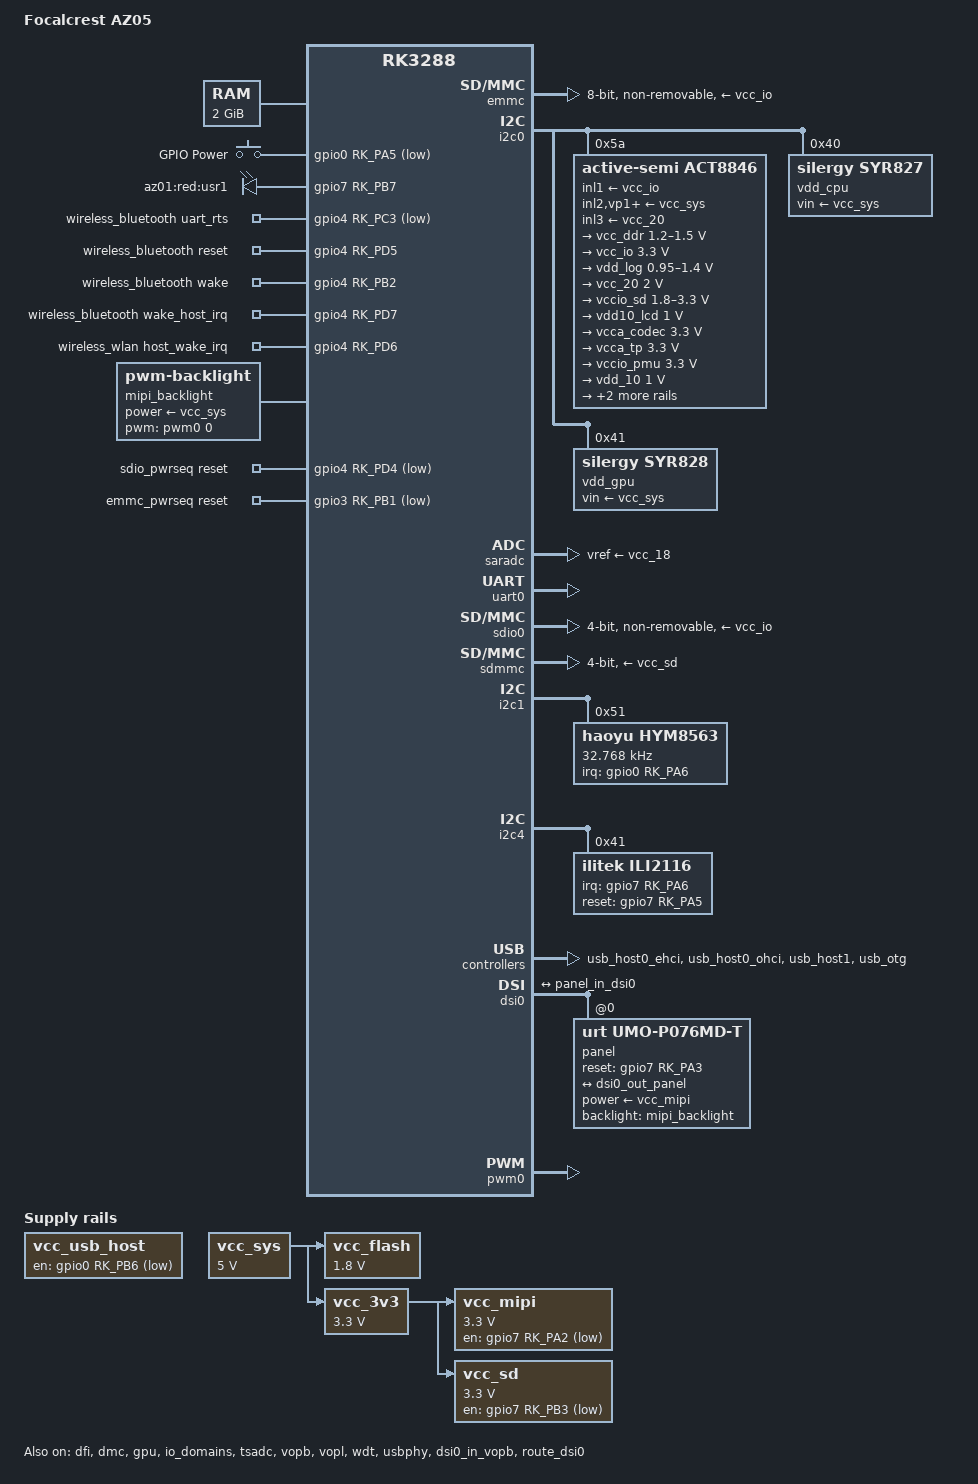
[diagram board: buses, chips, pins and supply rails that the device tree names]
// SPDX-License-Identifier: (GPL-2.0+ OR MIT)

/dts-v1/;
#include <dt-bindings/input/input.h>
#include <dt-bindings/pwm/pwm.h>
#include <dt-bindings/sensor-dev.h>
#include <dt-bindings/display/drm_mipi_dsi.h>
#include "rk3288.dtsi"
#include "rk3288-linux.dtsi"

/ {
	model = "Focalcrest AZ05";
	compatible = "focalcrest,az05", "rockchip,rk3288";


	memory@0 {
		reg = <0x0 0x0 0x0 0x80000000>;
		device_type = "memory";
	};

	gpio-keys {
		compatible = "gpio-keys";

		power {
			gpios = <&gpio0 RK_PA5 GPIO_ACTIVE_LOW>;
			label = "GPIO Power";
			linux,code = <KEY_POWER>;
			pinctrl-names = "default";
			pinctrl-0 = <&pwr_key>;
			wakeup-source;
		};
	};

	gpio-leds {
		compatible = "gpio-leds";

		heartbeat_led: led-0 {
			gpios = <&gpio7 RK_PB7 GPIO_ACTIVE_HIGH>;
			label = "az01:red:usr1";
			linux,default-trigger = "heartbeat";
			retain-state-shutdown;
		};

	};

        wireless_bluetooth: wireless-bluetooth {
                compatible = "bluetooth-platdata";
                clocks = <&hym8563>;
                clock-names = "ext_clock";
                uart_rts_gpios = <&gpio4 RK_PC3 GPIO_ACTIVE_LOW>;
                pinctrl-names = "default", "rts_gpio";
                pinctrl-0 = <&uart0_rts>;
                pinctrl-1 = <&uart0_rts_gpio>;
                BT,reset_gpio    = <&gpio4 RK_PD5 GPIO_ACTIVE_HIGH>;
                BT,wake_gpio     = <&gpio4 RK_PB2 GPIO_ACTIVE_HIGH>;
                BT,wake_host_irq = <&gpio4 RK_PD7 GPIO_ACTIVE_HIGH>;
                status = "okay";
        };

        wireless_wlan: wireless-wlan {
                compatible = "wlan-platdata";
                rockchip,grf = <&grf>;
                wifi_chip_type = "ap6256";
                WIFI,host_wake_irq = <&gpio4 RK_PD6 GPIO_ACTIVE_HIGH>;
                status = "okay";
        };

        mipi_backlight: mipi-backlight {
                compatible = "pwm-backlight";
		brightness-levels = <0x00 0xff>;
		num-interpolated-steps = <0xff>;
		default-brightness-level = <0x95>;
		power-supply = <&vcc_sys>;
                pwms = <&pwm0 0 50000 0>;
        };

        vcc_mipi: vcc-mipi {
                compatible = "regulator-fixed";
                gpio = <&gpio7 RK_PA2 GPIO_ACTIVE_LOW>;
                regulator-boot-on;
		startup-delay-us = <10000>;
		regulator-min-microvolt = <3300000>;
		regulator-max-microvolt = <3300000>;
                regulator-name = "vcc_mipi";
                vin-supply = <&vcc_3v3>;
        };

	sdio_pwrseq: sdio-pwrseq {
		compatible = "mmc-pwrseq-simple";
		clocks = <&hym8563>;
		clock-names = "ext_clock";
		pinctrl-names = "default";
		pinctrl-0 = <&wifi_enable>;
		post-power-on-delay-ms = <200>;
		reset-gpios = <&gpio4 RK_PD4 GPIO_ACTIVE_LOW>; // WIFI_REG_ON
	};

	vcc_usb_host: vcc-host-regulator {
		compatible = "regulator-fixed";
                regulator-boot-on;
		regulator-always-on;
		gpio = <&gpio0 RK_PB6 GPIO_ACTIVE_HIGH>;
		pinctrl-names = "default";
		pinctrl-0 = <&host_vbus_drv>;
		regulator-name = "vcc_host";
	};

	vcc_sd: sdmmc-regulator {
		compatible = "regulator-fixed";
		gpio = <&gpio7 RK_PB3 GPIO_ACTIVE_LOW>;
		pinctrl-names = "default";
		pinctrl-0 = <&sdmmc_pwr>;
		regulator-name = "vcc_sd";
		regulator-min-microvolt = <3300000>;
		regulator-max-microvolt = <3300000>;
		vin-supply = <&vcc_3v3>;
	};

	
	emmc_pwrseq: emmc-pwrseq {
		compatible = "mmc-pwrseq-emmc";
		reset-gpios = <&gpio3 RK_PB1 GPIO_ACTIVE_LOW>;
	};

	vcc_flash: flash-regulator {
		compatible = "regulator-fixed";
		regulator-name = "vcc_flash";
		regulator-min-microvolt = <1800000>;
		regulator-max-microvolt = <1800000>;
		startup-delay-us = <150>;
		vin-supply = <&vcc_sys>;
	};

	vcc_sys: vsys-regulator {
		compatible = "regulator-fixed";
		regulator-name = "vcc_sys";
		regulator-min-microvolt = <5000000>;
		regulator-max-microvolt = <5000000>;
		regulator-always-on;
		regulator-boot-on;
	};

	vcc_3v3: vcc-3v3 {
		compatible = "regulator-fixed";
		regulator-name = "3.3V";
		regulator-min-microvolt = <3300000>;
		regulator-max-microvolt = <3300000>;
		vin-supply = <&vcc_sys>;
	};
};

&cpu0 {
	cpu0-supply = <&vdd_cpu>;
};

&cpu_opp_table {
	/* Use the customer-validated fixed OPP table on AZ05. */
	/delete-property/ clocks;
	/delete-property/ rockchip,avs-scale;
	/delete-property/ rockchip,max-volt;
	/delete-property/ nvmem-cells;
	/delete-property/ nvmem-cell-names;
	/delete-property/ rockchip,bin-scaling-sel;
	/delete-property/ rockchip,pvtm-voltage-sel;
	/delete-property/ rockchip,pvtm-freq;
	/delete-property/ rockchip,pvtm-volt;
	/delete-property/ rockchip,pvtm-ch;
	/delete-property/ rockchip,pvtm-sample-time;
	/delete-property/ rockchip,pvtm-number;
	/delete-property/ rockchip,pvtm-error;
	/delete-property/ rockchip,pvtm-ref-temp;
	/delete-property/ rockchip,pvtm-temp-prop;
	/delete-property/ rockchip,thermal-zone;

	opp-126000000 {
		opp-microvolt = <900000>;
		/delete-property/ opp-microvolt-L0;
		/delete-property/ opp-microvolt-L1;
		/delete-property/ opp-microvolt-L2;
		/delete-property/ opp-microvolt-L3;
	};

	opp-216000000 {
		opp-microvolt = <900000>;
		/delete-property/ opp-microvolt-L0;
		/delete-property/ opp-microvolt-L1;
		/delete-property/ opp-microvolt-L2;
		/delete-property/ opp-microvolt-L3;
	};

	opp-312000000 {
		opp-hz = /bits/ 64 <312000000>;
		opp-microvolt = <900000>;
		clock-latency-ns = <40000>;
	};

	opp-408000000 {
		opp-microvolt = <900000>;
		/delete-property/ opp-microvolt-L0;
		/delete-property/ opp-microvolt-L1;
		/delete-property/ opp-microvolt-L2;
		/delete-property/ opp-microvolt-L3;
	};

	opp-600000000 {
		opp-microvolt = <900000>;
		/delete-property/ opp-microvolt-L0;
		/delete-property/ opp-microvolt-L1;
		/delete-property/ opp-microvolt-L2;
		/delete-property/ opp-microvolt-L3;
	};

	opp-696000000 {
		opp-microvolt = <950000>;
		/delete-property/ opp-microvolt-L0;
		/delete-property/ opp-microvolt-L1;
		/delete-property/ opp-microvolt-L2;
		/delete-property/ opp-microvolt-L3;
	};

	opp-816000000 {
		opp-microvolt = <1000000>;
		/delete-property/ opp-microvolt-L0;
		/delete-property/ opp-microvolt-L1;
		/delete-property/ opp-microvolt-L2;
		/delete-property/ opp-microvolt-L3;
		/delete-property/ opp-suspend;
	};

	opp-1008000000 {
		opp-microvolt = <1050000>;
		/delete-property/ opp-microvolt-L0;
		/delete-property/ opp-microvolt-L1;
		/delete-property/ opp-microvolt-L2;
		/delete-property/ opp-microvolt-L3;
	};

	opp-1200000000 {
		opp-microvolt = <1100000>;
		/delete-property/ opp-microvolt-L0;
		/delete-property/ opp-microvolt-L1;
		/delete-property/ opp-microvolt-L2;
		/delete-property/ opp-microvolt-L3;
	};

	opp-1416000000 {
		opp-microvolt = <1200000>;
		/delete-property/ opp-microvolt-L0;
		/delete-property/ opp-microvolt-L1;
		/delete-property/ opp-microvolt-L2;
		/delete-property/ opp-microvolt-L3;
	};

	opp-1512000000 {
		opp-microvolt = <1300000>;
		/delete-property/ opp-microvolt-L0;
		/delete-property/ opp-microvolt-L1;
		/delete-property/ opp-microvolt-L2;
		/delete-property/ opp-microvolt-L3;
	};

	opp-1608000000 {
		opp-microvolt = <1350000>;
		/delete-property/ opp-microvolt-L0;
		/delete-property/ opp-microvolt-L1;
		/delete-property/ opp-microvolt-L2;
		/delete-property/ opp-microvolt-L3;
	};
};

&dfi {
	status = "okay";
};

&dmc {
	center-supply = <&vdd_log>;
	status = "okay";
};

&emmc {
	max-frequency = <150000000>;
	supports-emmc;
	bus-width = <8>;
	broken-cd;
	disable-wp;
	mmc-ddr-1_8v;
	mmc-hs200-1_8v;
	non-removable;
	mmc-pwrseq = <&emmc_pwrseq>;
	pinctrl-names = "default";
	pinctrl-0 = <&emmc_clk &emmc_cmd &emmc_bus8>;
	vmmc-supply = <&vcc_io>;
	vqmmc-supply = <&vcc_flash>;
	status = "okay";
};


&gpu {
	mali-supply = <&vdd_gpu>;
	status = "okay";
};

&i2c0 {
	status = "okay";

	act8846: act8846@5a {
		compatible = "active-semi,act8846";
		reg = <0x5a>;
		system-power-controller;
		inl1-supply = <&vcc_io>;
		inl2-supply = <&vcc_sys>;
		inl3-supply = <&vcc_20>;
		vp1-supply = <&vcc_sys>;
		vp2-supply = <&vcc_sys>;
		vp3-supply = <&vcc_sys>;
		vp4-supply = <&vcc_sys>;

		regulators {
			vcc_ddr: REG1 {
				regulator-name = "VCC_DDR";
				regulator-min-microvolt = <1200000>;
				regulator-max-microvolt = <1500000>;
				regulator-always-on;
			};

			vcc_io: vccio_codec: REG2 {
				regulator-name = "VCC_IO";
				regulator-min-microvolt = <3300000>;
				regulator-max-microvolt = <3300000>;
				regulator-always-on;
			};

			vdd_log: REG3 {
				regulator-name = "VDD_LOG";
				regulator-min-microvolt = <950000>;
				regulator-max-microvolt = <1400000>;
				regulator-always-on;
			};

			vcc_20: REG4 {
				regulator-name = "VCC_20";
				regulator-min-microvolt = <2000000>;
				regulator-max-microvolt = <2000000>;
				regulator-always-on;
			};

			vccio_sd: REG5 {
				regulator-name = "VCCIO_SD";
				regulator-min-microvolt = <1800000>;
				regulator-max-microvolt = <3300000>;
				regulator-always-on;
			};

			vdd10_lcd: REG6 {
				regulator-name = "VDD10_LCD";
				regulator-min-microvolt = <1000000>;
				regulator-max-microvolt = <1000000>;
				regulator-always-on;
			};

			vcca_codec: REG7 {
				regulator-name = "VCCA_CODEC";
				regulator-min-microvolt = <3300000>;
				regulator-max-microvolt = <3300000>;
				regulator-always-on;
			};

			vcca_tp: REG8 {
				regulator-name = "VCCA_TP";
				regulator-min-microvolt = <3300000>;
				regulator-max-microvolt = <3300000>;
				regulator-always-on;
			};

			vccio_pmu: REG9 {
				regulator-name = "VCCIO_PMU";
				regulator-min-microvolt = <3300000>;
				regulator-max-microvolt = <3300000>;
				regulator-always-on;
			};

			vdd_10: REG10 {
				regulator-name = "VDD_10";
				regulator-min-microvolt = <1000000>;
				regulator-max-microvolt = <1000000>;
				regulator-always-on;
			};

			vcc_18: REG11 {
				regulator-name = "VCC_18";
				regulator-min-microvolt = <1800000>;
				regulator-max-microvolt = <1800000>;
				regulator-always-on;
			};

			vcc18_lcd: REG12 {
				regulator-name = "VCC18_LCD";
				regulator-min-microvolt = <1800000>;
				regulator-max-microvolt = <1800000>;
				regulator-always-on;
			};
		};
	};

	vdd_cpu: syr827@40 {
		compatible = "silergy,syr827";
		reg = <0x40>;
		fcs,suspend-voltage-selector = <1>;
		regulator-always-on;
		regulator-boot-on;
		regulator-enable-ramp-delay = <300>;
		regulator-initial-mode = <1>;
		regulator-name = "vdd_cpu";
		regulator-min-microvolt = <850000>;
		regulator-max-microvolt = <1500000>;
		regulator-ramp-delay = <8000>;
		vin-supply = <&vcc_sys>;
	};

	vdd_gpu: syr828@41 {
		compatible = "silergy,syr828";
		reg = <0x41>;
		fcs,suspend-voltage-selector = <1>;
		regulator-always-on;
		regulator-enable-ramp-delay = <300>;
		regulator-initial-mode = <1>;
		regulator-min-microvolt = <850000>;
		regulator-max-microvolt = <1350000>;
		regulator-name = "vdd_gpu";
		regulator-ramp-delay = <8000>;
		vin-supply = <&vcc_sys>;
	};
};

&io_domains {
	status = "okay";

	audio-supply = <&vcc_io>;
	bb-supply = <&vcc_18>;
	dvp-supply = <&vcc_io>;
	flash0-supply = <&vcc_flash>;
	flash1-supply = <&vccio_pmu>;
	gpio30-supply = <&vccio_pmu>;
	gpio1830-supply = <&vcc_io>;
	lcdc-supply = <&vcc_io>;
	sdcard-supply = <&vccio_sd>;
	wifi-supply = <&vcc_18>;
};


&saradc {
	vref-supply = <&vcc_18>;
};

&tsadc {
	rockchip,hw-tshut-mode = <0>; /* tshut mode 0:CRU 1:GPIO */
	rockchip,hw-tshut-polarity = <0>; /* tshut polarity 0:LOW 1:HIGH */
	status = "okay";
};

&vopb {
	status = "okay";
};

&vopb_mmu {
	status = "okay";
};

&vopl {
	status = "okay";
};

&vopl_mmu {
	status = "okay";
};

&wdt {
	status = "okay";
};


&uart0 {
        pinctrl-names = "default";
        pinctrl-0 = <&uart0_xfer &uart0_cts>;
        status = "okay";
};

&sdio0 {
	bus-width = <4>;
	cap-sd-highspeed;
	cap-sdio-irq;
	mmc-pwrseq = <&sdio_pwrseq>;
	non-removable;
	pinctrl-names = "default";
	pinctrl-0 = <&sdio0_bus4 &sdio0_cmd &sdio0_clk>;
	post-power-on-delay-ms = <150>;
	sd-uhs-sdr12;
	vmmc-supply = <&vcc_io>;
	vqmmc-supply = <&vcc_18>;
	status = "okay";
};

&sdmmc {
	bus-width = <4>;
	cap-mmc-highspeed;
	cap-sd-highspeed;
	card-detect-delay = <200>;
	disable-wp;	/* wp not hooked up */
	pinctrl-names = "default";
	pinctrl-0 = <&sdmmc_clk &sdmmc_cmd &sdmmc_cd &sdmmc_bus4>;
	vmmc-supply = <&vcc_sd>;
	vqmmc-supply = <&vccio_sd>;
	status = "okay";
};

&i2c1 {
	status = "okay";

        hym8563: rtc@51 {
		compatible = "haoyu,hym8563";
		reg = <0x51>;
		#clock-cells = <0>;
		clock-frequency = <32768>;
		clock-output-names = "xin32k";
		interrupt-parent = <&gpio0>;
		interrupts = <RK_PA6 IRQ_TYPE_EDGE_FALLING>;
		pinctrl-names = "default";
		pinctrl-0 = <&pmic_int>;
		status = "okay";
	};
};

&i2c4 {
	status = "okay";

	ili2116@41 {
		compatible = "ilitek,ili2116";
		reg = <0x41>;
		interrupt-parent = <&gpio7>;
		interrupts = <RK_PA6 IRQ_TYPE_EDGE_FALLING>;
		irq-gpios = <&gpio7 RK_PA6 GPIO_ACTIVE_HIGH>;
		reset-gpios = <&gpio7 RK_PA5 GPIO_ACTIVE_HIGH>;
	};
};

&pinctrl {
	keys {
		pwr_key: pwr-key {
			rockchip,pins = <0 RK_PA5 RK_FUNC_GPIO &pcfg_pull_up>;
		};
	};
	
	pmic {
		pmic_int: pmic-int {
			rockchip,pins = <0 RK_PA6 RK_FUNC_GPIO &pcfg_pull_up>;
		};
	};


	usb {
		host_vbus_drv: host-vbus-drv {
			rockchip,pins = <0 RK_PB6 RK_FUNC_GPIO &pcfg_pull_none>;
		};
	};

	sdmmc {
		sdmmc_pwr: sdmmc-pwr {
			rockchip,pins = <7 RK_PB3 RK_FUNC_GPIO &pcfg_pull_none>;
		};
	};


	touch {
		touch_int: touch-int {
			rockchip,pins = <7 RK_PA6 RK_FUNC_GPIO &pcfg_pull_up>;
		};

		touch_rst: touch-rst {
			rockchip,pins = <7 RK_PA5 RK_FUNC_GPIO &pcfg_pull_none>;
		};
	};

	sdio-pwrseq {
		wifi_enable: wifi-enable {
			rockchip,pins = <4 RK_PD4 RK_FUNC_GPIO &pcfg_pull_none>;
		};
	};

	wireless-bluetooth {
		uart0_rts_gpio: uart0-rts-gpio {
			rockchip,pins = <4 RK_PC3 RK_FUNC_GPIO &pcfg_pull_none>;
		};

		bt_reset_gpio: bt-reset-gpio {
			rockchip,pins = <4 RK_PD5 RK_FUNC_GPIO &pcfg_pull_none>;
		};

		bt_wake_gpio: bt-wake-gpio {
			rockchip,pins = <4 RK_PB2 RK_FUNC_GPIO &pcfg_pull_none>;
		};

		bt_irq_gpio: bt-irq-gpio {
			rockchip,pins = <4 RK_PD7 RK_FUNC_GPIO &pcfg_pull_down>;
		};
	};

	wireless-wlan {
		wifi_host_wake_irq: wifi-host-wake-irq {
			rockchip,pins = <4 RK_PD6 RK_FUNC_GPIO &pcfg_pull_down>;
		};
	};

};

&saradc {
	status = "okay";
};

&usbphy {
	status = "okay";
};

&usbphy1 {
	vbus-supply = <&vcc_usb_host>;
};

&usb_host0_ehci {
	status = "okay";
};

&usb_host0_ohci {
	status = "okay";
};

&usb_host1 {
	status = "okay";
};

&usb_otg {
	status = "okay";
};

&dsi0 {
        status = "okay";

        panel@0 {
                compatible = "urt,umo-p076md-t";
                reg = <0>;
                reset-gpios = <&gpio7 RK_PA3 GPIO_ACTIVE_HIGH>;
                backlight = <&mipi_backlight>;
                power-supply = <&vcc_mipi>;

                ports {
                        #address-cells = <1>;
                        #size-cells = <0>;

                        port@0 {
                                reg = <0>;

                                panel_in_dsi0: endpoint {
                                        remote-endpoint = <&dsi0_out_panel>;
                                };
                        };
                };

	};


        ports {
                #address-cells = <1>;
                #size-cells = <0>;

                port@1 {
                        reg = <1>;
                        #address-cells = <1>;
                        #size-cells = <0>;

                        dsi0_out_panel: endpoint@0 {
                                reg = <0>;
                                remote-endpoint = <&panel_in_dsi0>;
                        };
                };
        };
};

&dsi0_in_vopb {
        status = "okay";
};

&route_dsi0 {
        connect = <&vopb_out_dsi0>;
        status = "okay";
};

&pwm0 {
	status = "okay";
};

&rockchip_suspend {
	status = "okay";
};

&vdd_cpu {
	regulator-state-mem {
		regulator-off-in-suspend;
	};
};

&vdd_gpu {
	regulator-state-mem {
		regulator-off-in-suspend;
	};
};
